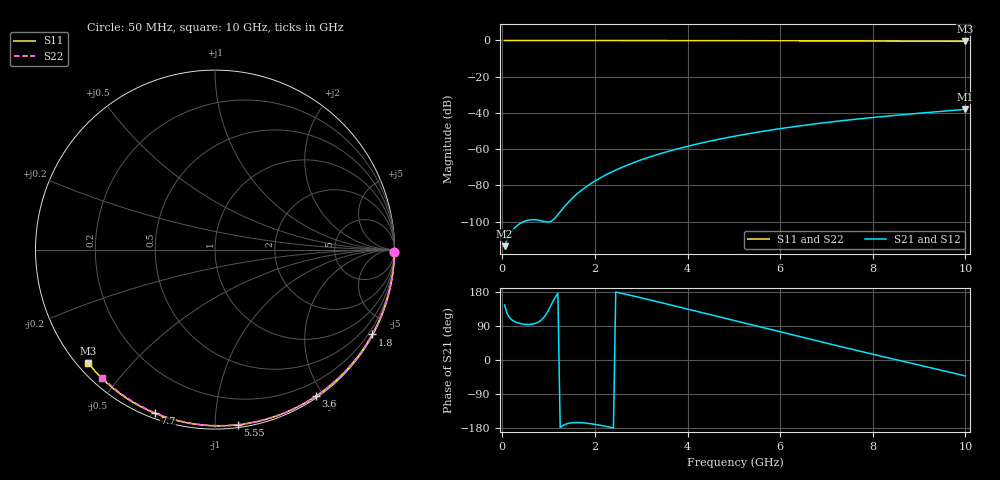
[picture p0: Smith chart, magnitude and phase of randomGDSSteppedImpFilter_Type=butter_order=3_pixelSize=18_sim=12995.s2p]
! freq	dB(S11)	phase(S11)	dB(S12)	phase(S12)
!  dB(S21)	phase(S21)	dB(S22)	phase(S22)
!S-par simulation data
#  GHz  S  DB  R 50
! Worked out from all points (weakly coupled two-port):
!   200 points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, 50 MHz to 10 GHz, reference 50 ohm
!   highest |S21| = -38.03 dB at 10 GHz (marker M1); lowest = -113.6 dB at 50 MHz (marker M2)
!   lowest |S11| = -0.5 dB at 10 GHz (marker M3), VSWR 37.07, Z = 1.55 - j19.1 ohm
!   |S11| at or under -10 dB: nowhere
!   |S22| runs from -0.4 to 0.0 dB; largest |S21 - S12| = 0
!   S11 on the Smith chart (normalised r, x): 50 MHz: open; 1.8 GHz: 0.03, -3.96; 3.6 GHz: 0.02, -1.91; 5.55 GHz: 0.02, -1.14; 7.7 GHz: 0.02, -0.70; 10 GHz: 0.03, -0.38
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0.05  -0.00 -0.8  -113.61 145.3  -113.61 145.3  -0.00 -0.8
0.45  -0.01 -7.2  -100.17 94.7  -100.17 94.7  -0.01 -6.8
0.9  -0.02 -14.3  -100.01 112.7  -100.01 112.7  -0.02 -13.6
1.75  -0.04 -27.6  -81.97 -165.8  -81.97 -165.8  -0.03 -26.2
1.8  -0.04 -28.3  -81.02 -166.4  -81.02 -166.4  -0.03 -26.9
1.85  -0.04 -29.1  -80.13 -167.1  -80.13 -167.1  -0.04 -27.6
2.15  -0.04 -33.7  -75.43 -173.1  -75.43 -173.1  -0.04 -32.0
2.35  -0.05 -36.8  -72.79 -178.0  -72.79 -178.0  -0.04 -34.9
2.55  -0.05 -39.8  -70.44 176.7  -70.44 176.7  -0.05 -37.8
2.95  -0.06 -45.8  -66.40 165.5  -66.40 165.5  -0.06 -43.5
3.4  -0.07 -52.4  -62.61 152.3  -62.61 152.3  -0.07 -49.8
3.6  -0.07 -55.4  -61.12 146.4  -61.12 146.4  -0.07 -52.6
3.9  -0.08 -59.7  -59.07 137.4  -59.07 137.4  -0.08 -56.8
4.3  -0.09 -65.4  -56.63 125.4  -56.63 125.4  -0.09 -62.2
5.05  -0.12 -75.8  -52.72 102.8  -52.72 102.8  -0.11 -72.1
5.55  -0.14 -82.6  -50.49 87.8  -50.49 87.8  -0.13 -78.6
6.1  -0.16 -89.9  -48.33 71.3  -48.33 71.3  -0.15 -85.6
6.7  -0.19 -97.7  -46.25 53.4  -46.25 53.4  -0.18 -93.0
7.7  -0.25 -110.3  -43.32 23.9  -43.32 23.9  -0.24 -105.0
8.35  -0.30 -118.3  -41.69 5.1  -41.69 5.1  -0.29 -112.6
9.2  -0.38 -128.6  -39.75 -19.1  -39.75 -19.1  -0.36 -122.3
10  -0.47 -138.2  -38.03 -42.1  -38.03 -42.1  -0.44 -131.3
